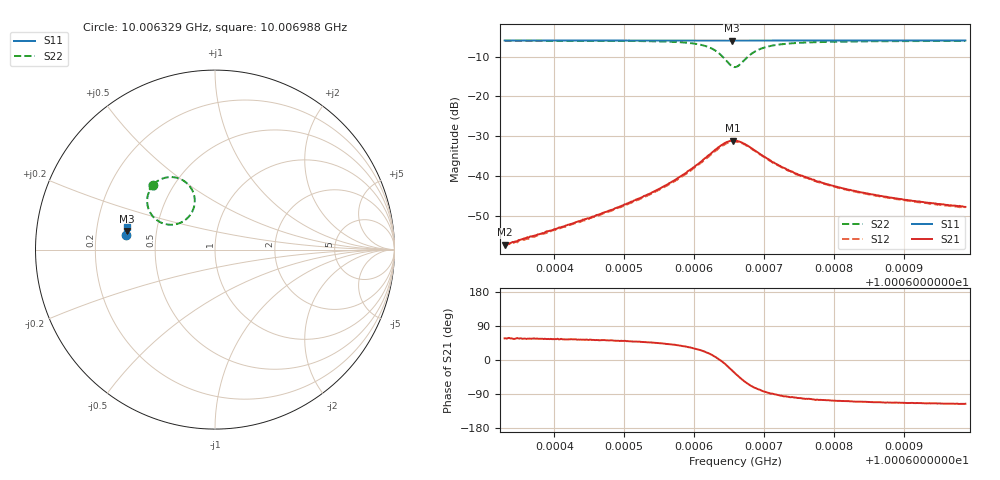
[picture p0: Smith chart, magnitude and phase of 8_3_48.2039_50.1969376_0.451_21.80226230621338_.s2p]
#  HZ  S  RI  R  50.00
! Rohde & Schwarz Vector Network Analyzer
! Rohde-Schwarz,ZNB20-2Port,1311601062101988,3.16
! Created: UTC 3/20/2024, 11:36:20 AM
! freq[Hz]  re:S11  im:S11  re:S21  im:S21  re:S12  im:S12  re:S22  im:S22
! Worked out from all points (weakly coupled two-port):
!   401 points, 10.006329 GHz to 10.006988 GHz, reference 50 ohm
!   highest |S21| = -31.08 dB at 10.006655 GHz (marker M1); lowest = -57.2 dB at 10.006329 GHz (marker M2)
!   lowest |S11| = -6.0 dB at 10.006653 GHz (marker M3), VSWR 3.00, Z = 16.8 + j4.65 ohm
!   |S11| at or under -10 dB: nowhere
!   |S22| runs from -12.6 to -6.0 dB; largest |S21 - S12| = 0.0022
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1.00063288e10  -0.4954 0.0835  0.000747 0.00115  0.000659 0.00114  -0.345 0.3623
1.00064392e10  -0.4942 0.0908  0.00166 0.00224  0.00151 0.00226  -0.3294 0.3757
1.00064952e10  -0.4936 0.0946  0.00265 0.00326  0.00246 0.00327  -0.3149 0.3853
1.00065496e10  -0.4928 0.0982  0.0049 0.00487  0.00457 0.00492  -0.2879 0.3973
1.00065858e10  -0.4921 0.1008  0.00857 0.00626  0.00804 0.00649  -0.2489 0.4041
1.00066171e10  -0.491 0.103  0.0161 0.00589  0.0153 0.00661  -0.1792 0.3863
1.00066336e10  -0.4901 0.1037  0.0226 0.00159  0.0216 0.00285  -0.1285 0.3342
1.00066451e10  -0.4893 0.1036  0.0258 -0.00555  0.0252 -0.00383  -0.1131 0.2618
1.00066534e10  -0.4892 0.1036  0.025 -0.0123  0.025 -0.0103  -0.1326 0.2016
1.0006655e10  -0.4892 0.1035  0.0244 -0.0136  0.0246 -0.0115  -0.1401 0.1906
1.00066583e10  -0.4894 0.1036  0.0229 -0.0159  0.0233 -0.014  -0.1582 0.1712
1.00066633e10  -0.4895 0.1035  0.0199 -0.0188  0.0207 -0.017  -0.1911 0.15
1.00066731e10  -0.4899 0.1037  0.0132 -0.0213  0.0144 -0.0201  -0.2593 0.1391
1.00066847e10  -0.4905 0.1044  0.00675 -0.0204  0.00805 -0.0197  -0.318 0.1602
1.00066995e10  -0.4908 0.1055  0.00219 -0.0175  0.00317 -0.0172  -0.3568 0.199
1.00067143e10  -0.491 0.1065  -2.4e-05 -0.0147  0.000726 -0.0144  -0.372 0.2318
1.00067357e10  -0.4909 0.1083  -0.00156 -0.0116  -0.000989 -0.0116  -0.3778 0.2647
1.00067687e10  -0.4907 0.1106  -0.00212 -0.00873  -0.00175 -0.00881  -0.3757 0.295
1.00068181e10  -0.4902 0.114  -0.00219 -0.00649  -0.00185 -0.00648  -0.3689 0.3195
1.00068791e10  -0.4893 0.1179  -0.00207 -0.00499  -0.00176 -0.00501  -0.3612 0.336
1.00069433e10  -0.4885 0.1221  -0.00188 -0.00412  -0.00167 -0.00412  -0.3546 0.3468
1.00069878e10  -0.4879 0.125  -0.00177 -0.00371  -0.00159 -0.00374  -0.3507 0.3523
